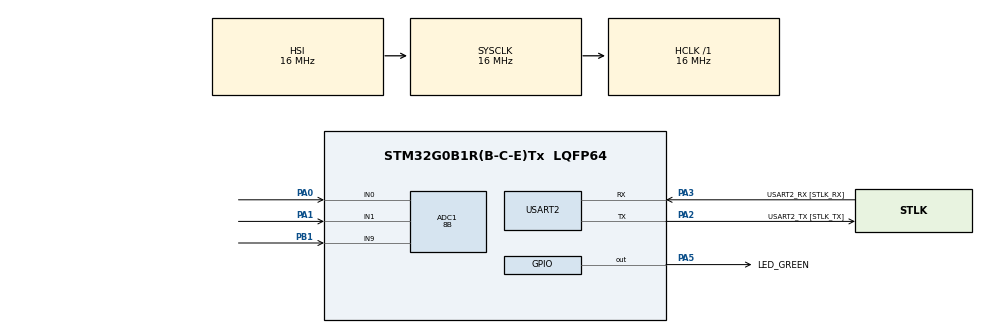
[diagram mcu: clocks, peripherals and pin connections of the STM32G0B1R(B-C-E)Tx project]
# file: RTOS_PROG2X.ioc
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ADC1.Channel-0\#ChannelRegularConversion=ADC_CHANNEL_0
ADC1.Channel-1\#ChannelRegularConversion=ADC_CHANNEL_1
ADC1.Channel-2\#ChannelRegularConversion=ADC_CHANNEL_9
ADC1.Channel-3\#ChannelRegularConversion=ADC_CHANNEL_0
ADC1.Channel-4\#ChannelRegularConversion=ADC_CHANNEL_0
ADC1.ContinuousConvMode=DISABLE
ADC1.DMAContinuousRequests=ENABLE
ADC1.NbrOfConversion=5
ADC1.NbrOfConversionFlag=1
ADC1.Rank-0\#ChannelRegularConversion=1
ADC1.Rank-1\#ChannelRegularConversion=2
ADC1.Rank-2\#ChannelRegularConversion=3
ADC1.Rank-3\#ChannelRegularConversion=4
ADC1.Rank-4\#ChannelRegularConversion=5
ADC1.Resolution=ADC_RESOLUTION_8B
ADC1.SamplingTime-0\#ChannelRegularConversion=ADC_SAMPLINGTIME_COMMON_1
ADC1.SamplingTime-1\#ChannelRegularConversion=ADC_SAMPLINGTIME_COMMON_1
ADC1.SamplingTime-2\#ChannelRegularConversion=ADC_SAMPLINGTIME_COMMON_1
ADC1.SamplingTime-3\#ChannelRegularConversion=ADC_SAMPLINGTIME_COMMON_1
ADC1.SamplingTime-4\#ChannelRegularConversion=ADC_SAMPLINGTIME_COMMON_1
ADC1.SelectedChannel=ADC_CHANNEL_0|ADC_CHANNEL_1|ADC_CHANNEL_9
ADC1.master=1
Dma.ADC1.0.Direction=DMA_PERIPH_TO_MEMORY
Dma.ADC1.0.EventEnable=DISABLE
Dma.ADC1.0.Instance=DMA1_Channel1
Dma.ADC1.0.MemDataAlignment=DMA_MDATAALIGN_HALFWORD
Dma.ADC1.0.MemInc=DMA_MINC_ENABLE
Dma.ADC1.0.Mode=DMA_CIRCULAR
Dma.ADC1.0.PeriphDataAlignment=DMA_PDATAALIGN_HALFWORD
Dma.ADC1.0.PeriphInc=DMA_PINC_DISABLE
Dma.ADC1.0.Polarity=HAL_DMAMUX_REQ_GEN_RISING
Dma.ADC1.0.Priority=DMA_PRIORITY_LOW
Dma.ADC1.0.RequestNumber=1
Dma.ADC1.0.SignalID=NONE
Dma.ADC1.0.SyncEnable=DISABLE
Dma.ADC1.0.SyncPolarity=HAL_DMAMUX_SYNC_NO_EVENT
Dma.ADC1.0.SyncRequestNumber=1
Dma.ADC1.0.SyncSignalID=NONE
Dma.Request0=ADC1
FREERTOS.Tasks01=defaultTask,24,128,StartDefaultTask,Default,NULL,Dynamic,NULL,NULL
FREERTOS.configUSE_NEWLIB_REENTRANT=1
Mcu.Family=STM32G0
Mcu.Name=STM32G0B1R(B-C-E)Tx
Mcu.Package=LQFP64
NVIC.DMA1_Channel1_IRQn=true\:3\:0\:false\:false\:true\:true\:false\:true\:true
NVIC.TIM1_BRK_UP_TRG_COM_IRQn=true\:3\:0\:false\:false\:true\:false\:false\:true\:true
NVIC.TimeBase=TIM1_BRK_UP_TRG_COM_IRQn
NVIC.TimeBaseIP=TIM1
PA0.Mode=IN0
PA0.Signal=ADC1_IN0
PA1.Mode=IN1
PA1.Signal=ADC1_IN1
PA13.GPIO_Label=TMS
PA13.Mode=Serial_Wire
PA13.Signal=SYS_SWDIO
PA14-BOOT0.GPIO_Label=TCK
PA14-BOOT0.Mode=Serial_Wire
PA14-BOOT0.Signal=SYS_SWCLK
PA2.GPIO_Label=USART2_TX [STLK_TX]
PA2.Mode=Asynchronous
PA2.Signal=USART2_TX
PA3.GPIO_Label=USART2_RX [STLK_RX]
PA3.Mode=Asynchronous
PA3.Signal=USART2_RX
PA5.GPIO_Label=LED_GREEN
PA5.GPIO_Speed=GPIO_SPEED_FREQ_HIGH
PA5.Signal=GPIO_Output
PB1.Mode=IN9
PB1.Signal=ADC1_IN9
PB11.Signal=ADC1_IN15
PB12.Signal=ADC1_IN16
PC13.Mode=SYS_WakeUp1
PC13.Signal=SYS_WKUP2
PC14-OSC32_IN\ (PC14).Mode=LSE-External-Oscillator
PC14-OSC32_IN\ (PC14).Signal=RCC_OSC32_IN
PC15-OSC32_OUT\ (PC15).Mode=LSE-External-Oscillator
PC15-OSC32_OUT\ (PC15).Signal=RCC_OSC32_OUT
PF0-OSC_IN\ (PF0).GPIO_Label=MCO
PF0-OSC_IN\ (PF0).Mode=HSE-External-Clock-Source
PF0-OSC_IN\ (PF0).Signal=RCC_OSC_IN
ProjectManager.HeapSize=0x200
ProjectManager.StackSize=0x400
ProjectManager.TargetToolchain=STM32CubeIDE
RCC.AHBFreq_Value=16000000
RCC.CortexFreq_Value=16000000
RCC.EXTERNAL_CLOCK_VALUE=12288000
RCC.HCLKFreq_Value=16000000
RCC.HSE_VALUE=8000000
RCC.HSI48_VALUE=48000000
RCC.HSI_VALUE=16000000
RCC.SYSCLKFreq_VALUE=16000000
RCC.USBFreq_Value=48000000
RCC.VCOOutputFreq_Value=128000000
USART2.VirtualMode-Asynchronous=VM_ASYNC
VP_FREERTOS_VS_CMSIS_V2.Mode=CMSIS_V2
VP_SYS_VS_DBSignals.Mode=DisableDeadBatterySignals
VP_SYS_VS_tim1.Mode=TIM1
board=NUCLEO-G0B1RE

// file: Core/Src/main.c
/* USER CODE BEGIN Header */
/**
  ******************************************************************************
  * @file           : main.c
  * @brief          : Main program body
  ******************************************************************************
  * @attention
  *
  * Copyright (c) 2024 STMicroelectronics.
  * All rights reserved.
  *
  * This software is licensed under terms that can be found in the LICENSE file
  * in the root directory of this software component.
  * If no LICENSE file comes with this software, it is provided AS-IS.
  *
  ******************************************************************************
  */
/* USER CODE END Header */
#include "main.h"
#include "cmsis_os.h"

/* USER CODE BEGIN Includes */
#include <stdio.h>
#include <string.h>

/* USER CODE END Includes */

ADC_HandleTypeDef hadc1;
DMA_HandleTypeDef hdma_adc1;

UART_HandleTypeDef huart2;

/* Definitions for defaultTask */
osThreadId_t defaultTaskHandle;
const osThreadAttr_t defaultTask_attributes = {
  .name = "defaultTask",
  .priority = (osPriority_t) osPriorityNormal,
  .stack_size = 128 * 4
};
/* USER CODE BEGIN PV */
osThreadId_t task1Handle;
const osThreadAttr_t Task1_attributes = {
  .name = "Task1",
  .priority = (osPriority_t) osPriorityNormal,
  .stack_size = 128 * 4
};

/* USER CODE END PV */

void SystemClock_Config(void);
static void MX_GPIO_Init(void);
static void MX_DMA_Init(void);
static void MX_USART2_UART_Init(void);
static void MX_ADC1_Init(void);
void StartDefaultTask(void *argument);

/* USER CODE BEGIN PFP */
void StartTask1(void *argument);

volatile uint16_t adcResultsDMA[5];
const int adcChannelCount = sizeof (adcResultsDMA) / sizeof (adcResultsDMA[0]);
volatile int adcConversionComplete = 0; // set by callback
#define TXBUFLEN	20
char txBuf[TXBUFLEN];

// uncomment this to send with protocol
//char uart_packet[20];

// this transmission is only for testing
char uart_packet_2[20] ={'a','b','c','d','e','f','g','h','i','j','k','l','m','n','o','p','q','r','s','t'};
char uart_packet[20]; // for data protocol

/* USER CODE END PFP */

/* USER CODE BEGIN 0 */

typedef enum {
	HEADER_1 = 0,
	HEADER_2,
	PACKET_LENGTH,
	GAIN1_HB,

	GAIN1_LB,
	PHASE1_HB,
	PHASE1_LB,
	GAIN2_HB,

	GAIN2_LB,
	PHASE2_HB,
	PHASE2_LB,
	GAIN3_HB,

	GAIN3_LB,
	PHASE3_HB,
	PHASE3_LB,
	ECG1_HB,

	ECG1_LB,
	LEAD_DETECT_HB,
	LEAD_DETECT_LB,
	EXTRA_BYTE
} ByteName;

typedef struct {
	uint8_t header1;
	uint8_t header2;
	uint8_t packet_length;
	uint16_t gain1;
	uint16_t phase1;
	uint16_t gain2;
	uint16_t phase2;
	uint16_t gain3;
	uint16_t phase3;
	uint16_t ECG1;
	uint16_t lead_detection;
	uint8_t extra_byte;
} DataPacketStr;

DataPacketStr dataPacket;

/* USER CODE END 0 */

int main(void)
{

  /* MCU Configuration--------------------------------------------------------*/

  /* Reset of all peripherals, Initializes the Flash interface and the Systick. */
  HAL_Init();

  /* Configure the system clock */
  SystemClock_Config();

  /* Initialize all configured peripherals */
  MX_GPIO_Init();
  MX_DMA_Init();
  MX_USART2_UART_Init();
  MX_ADC1_Init();

  /* Init scheduler */
  osKernelInitialize();

  /* Create the thread(s) */
  /* creation of defaultTask */
  defaultTaskHandle = osThreadNew(StartDefaultTask, NULL, &defaultTask_attributes);

  /* USER CODE BEGIN RTOS_THREADS */
  task1Handle = osThreadNew(StartTask1, NULL, &Task1_attributes);
  /* add threads, ... */
  /* USER CODE END RTOS_THREADS */

  /* Start scheduler */
  osKernelStart();

  /* We should never get here as control is now taken by the scheduler */
  /* Infinite loop */
  while (1)
  {

  }
}

void SystemClock_Config(void)
{
  RCC_OscInitTypeDef RCC_OscInitStruct = {0};
  RCC_ClkInitTypeDef RCC_ClkInitStruct = {0};

  /** Configure the main internal regulator output voltage
  */
  HAL_PWREx_ControlVoltageScaling(PWR_REGULATOR_VOLTAGE_SCALE1);

  /** Initializes the RCC Oscillators according to the specified parameters
  * in the RCC_OscInitTypeDef structure.
  */
  RCC_OscInitStruct.OscillatorType = RCC_OSCILLATORTYPE_HSI;
  RCC_OscInitStruct.HSIState = RCC_HSI_ON;
  RCC_OscInitStruct.HSIDiv = RCC_HSI_DIV1;
  RCC_OscInitStruct.HSICalibrationValue = RCC_HSICALIBRATION_DEFAULT;
  RCC_OscInitStruct.PLL.PLLState = RCC_PLL_NONE;
  if (HAL_RCC_OscConfig(&RCC_OscInitStruct) != HAL_OK)
  {
    Error_Handler();
  }

  /** Initializes the CPU, AHB and APB buses clocks
  */
  RCC_ClkInitStruct.ClockType = RCC_CLOCKTYPE_HCLK|RCC_CLOCKTYPE_SYSCLK
                              |RCC_CLOCKTYPE_PCLK1;
  RCC_ClkInitStruct.SYSCLKSource = RCC_SYSCLKSOURCE_HSI;
  RCC_ClkInitStruct.AHBCLKDivider = RCC_SYSCLK_DIV1;
  RCC_ClkInitStruct.APB1CLKDivider = RCC_HCLK_DIV1;

  if (HAL_RCC_ClockConfig(&RCC_ClkInitStruct, FLASH_LATENCY_0) != HAL_OK)
  {
    Error_Handler();
  }
}

static void MX_ADC1_Init(void)
{

  ADC_ChannelConfTypeDef sConfig = {0};

  /** Configure the global features of the ADC (Clock, Resolution, Data Alignment and number of conversion)
  */
  hadc1.Instance = ADC1;
  hadc1.Init.ClockPrescaler = ADC_CLOCK_SYNC_PCLK_DIV2;
  hadc1.Init.Resolution = ADC_RESOLUTION_8B;
  hadc1.Init.DataAlign = ADC_DATAALIGN_RIGHT;
  hadc1.Init.ScanConvMode = ADC_SCAN_ENABLE;
  hadc1.Init.EOCSelection = ADC_EOC_SINGLE_CONV;
  hadc1.Init.LowPowerAutoWait = DISABLE;
  hadc1.Init.LowPowerAutoPowerOff = DISABLE;
  hadc1.Init.ContinuousConvMode = DISABLE;
  hadc1.Init.NbrOfConversion = 5;
  hadc1.Init.DiscontinuousConvMode = DISABLE;
  hadc1.Init.ExternalTrigConv = ADC_SOFTWARE_START;
  hadc1.Init.ExternalTrigConvEdge = ADC_EXTERNALTRIGCONVEDGE_NONE;
  hadc1.Init.DMAContinuousRequests = ENABLE;
  hadc1.Init.Overrun = ADC_OVR_DATA_PRESERVED;
  hadc1.Init.SamplingTimeCommon1 = ADC_SAMPLETIME_1CYCLE_5;
  hadc1.Init.SamplingTimeCommon2 = ADC_SAMPLETIME_1CYCLE_5;
  hadc1.Init.OversamplingMode = DISABLE;
  hadc1.Init.TriggerFrequencyMode = ADC_TRIGGER_FREQ_HIGH;
  if (HAL_ADC_Init(&hadc1) != HAL_OK)
  {
    Error_Handler();
  }

  /** Configure Regular Channel
  */
  sConfig.Channel = ADC_CHANNEL_0;
  sConfig.Rank = ADC_REGULAR_RANK_1;
  sConfig.SamplingTime = ADC_SAMPLINGTIME_COMMON_1;
  if (HAL_ADC_ConfigChannel(&hadc1, &sConfig) != HAL_OK)
  {
    Error_Handler();
  }

  /** Configure Regular Channel
  */
  sConfig.Channel = ADC_CHANNEL_1;
  sConfig.Rank = ADC_REGULAR_RANK_2;
  if (HAL_ADC_ConfigChannel(&hadc1, &sConfig) != HAL_OK)
  {
    Error_Handler();
  }

  /** Configure Regular Channel
  */
  sConfig.Channel = ADC_CHANNEL_9;
  sConfig.Rank = ADC_REGULAR_RANK_3;
  if (HAL_ADC_ConfigChannel(&hadc1, &sConfig) != HAL_OK)
  {
    Error_Handler();
  }

  /** Configure Regular Channel
  */
  sConfig.Channel = ADC_CHANNEL_0;
  sConfig.Rank = ADC_REGULAR_RANK_4;
  if (HAL_ADC_ConfigChannel(&hadc1, &sConfig) != HAL_OK)
  {
    Error_Handler();
  }

  /** Configure Regular Channel
  */
  sConfig.Rank = ADC_REGULAR_RANK_5;
  if (HAL_ADC_ConfigChannel(&hadc1, &sConfig) != HAL_OK)
  {
    Error_Handler();
  }
  /* USER CODE BEGIN ADC1_Init 2 */
  // configuration for channel two

  /** Configure Regular Channel
  */

  // adding three more channels

  /* USER CODE END ADC1_Init 2 */

}

static void MX_USART2_UART_Init(void)
{

  huart2.Instance = USART2;
  huart2.Init.BaudRate = 115200;
  huart2.Init.WordLength = UART_WORDLENGTH_8B;
  huart2.Init.StopBits = UART_STOPBITS_1;
  huart2.Init.Parity = UART_PARITY_NONE;
  huart2.Init.Mode = UART_MODE_TX_RX;
  huart2.Init.HwFlowCtl = UART_HWCONTROL_NONE;
  huart2.Init.OverSampling = UART_OVERSAMPLING_16;
  huart2.Init.OneBitSampling = UART_ONE_BIT_SAMPLE_DISABLE;
  huart2.Init.ClockPrescaler = UART_PRESCALER_DIV1;
  huart2.AdvancedInit.AdvFeatureInit = UART_ADVFEATURE_NO_INIT;
  if (HAL_UART_Init(&huart2) != HAL_OK)
  {
    Error_Handler();
  }
  if (HAL_UARTEx_SetTxFifoThreshold(&huart2, UART_TXFIFO_THRESHOLD_1_8) != HAL_OK)
  {
    Error_Handler();
  }
  if (HAL_UARTEx_SetRxFifoThreshold(&huart2, UART_RXFIFO_THRESHOLD_1_8) != HAL_OK)
  {
    Error_Handler();
  }
  if (HAL_UARTEx_DisableFifoMode(&huart2) != HAL_OK)
  {
    Error_Handler();
  }

}

static void MX_DMA_Init(void)
{

  /* DMA controller clock enable */
  __HAL_RCC_DMA1_CLK_ENABLE();

  /* DMA interrupt init */
  /* DMA1_Channel1_IRQn interrupt configuration */
  HAL_NVIC_SetPriority(DMA1_Channel1_IRQn, 3, 0);
  HAL_NVIC_EnableIRQ(DMA1_Channel1_IRQn);

}

static void MX_GPIO_Init(void)
{
  GPIO_InitTypeDef GPIO_InitStruct = {0};

  /* GPIO Ports Clock Enable */
  __HAL_RCC_GPIOC_CLK_ENABLE();
  __HAL_RCC_GPIOF_CLK_ENABLE();
  __HAL_RCC_GPIOA_CLK_ENABLE();
  __HAL_RCC_GPIOB_CLK_ENABLE();

  /*Configure GPIO pin Output Level */
  HAL_GPIO_WritePin(LED_GREEN_GPIO_Port, LED_GREEN_Pin, GPIO_PIN_RESET);

  /*Configure GPIO pin : LED_GREEN_Pin */
  GPIO_InitStruct.Pin = LED_GREEN_Pin;
  GPIO_InitStruct.Mode = GPIO_MODE_OUTPUT_PP;
  GPIO_InitStruct.Pull = GPIO_NOPULL;
  GPIO_InitStruct.Speed = GPIO_SPEED_FREQ_HIGH;
  HAL_GPIO_Init(LED_GREEN_GPIO_Port, &GPIO_InitStruct);

}

/* USER CODE BEGIN 4 */

void read_inputs(){
  dataPacket.header1 = 255;
  dataPacket.header2 = 255;
  dataPacket.packet_length = 20; // packet length
  dataPacket.gain1 = 97;
  dataPacket.phase1 = 98;
  dataPacket.gain2 = 99;
  dataPacket.phase2 = 100;
  dataPacket.gain3 = 101;
  dataPacket.phase3 = 102;
  dataPacket.ECG1 = 103;
  dataPacket.lead_detection = 104;
  dataPacket.extra_byte = 105;

}

void set_packets(){
	read_inputs();

   // final version
  uart_packet[HEADER_1] = dataPacket.header1;
  uart_packet[HEADER_2] = dataPacket.header2;
  uart_packet[PACKET_LENGTH] = dataPacket.packet_length;
  uart_packet[GAIN1_HB] = (dataPacket.gain1 >> 8 ) & 0xFF; // get higher bytes

  uart_packet[GAIN1_LB] = dataPacket.gain1 & 0xFF; // get lower bytes
  uart_packet[PHASE1_HB] = (dataPacket.phase1 >> 8 ) & 0xFF;
  uart_packet[PHASE1_LB] = dataPacket.phase1 & 0xFF;
  uart_packet[GAIN2_HB] = (dataPacket.gain2 >> 8 ) & 0xFF;

  uart_packet[GAIN2_LB] =  dataPacket.gain2 & 0xFF;
  uart_packet[PHASE2_HB] = (dataPacket.phase2 >> 8 ) & 0xFF;
  uart_packet[PHASE2_LB] = dataPacket.phase2 & 0xFF;
  uart_packet[GAIN3_HB] = (dataPacket.gain3 >> 8 ) & 0xFF;

  uart_packet[GAIN3_LB] = dataPacket.gain3 & 0xFF;
  uart_packet[PHASE3_HB] = (dataPacket.phase3 >> 8 ) & 0xFF;
  uart_packet[PHASE3_LB] = dataPacket.phase3 & 0xFF;
  uart_packet[ECG1_HB] = (dataPacket.ECG1 >> 8 ) & 0xFF;

  uart_packet[ECG1_LB] = dataPacket.ECG1 & 0xFF;
  uart_packet[LEAD_DETECT_HB] = (dataPacket.lead_detection >> 8) & 0xFF;
  uart_packet[LEAD_DETECT_LB] = dataPacket.lead_detection & 0xFF;
  uart_packet[EXTRA_BYTE] = dataPacket.extra_byte & 0xFF;

}

void HAL_ADC_ConvCpltCallback(ADC_HandleTypeDef *hadc)
{

  adcConversionComplete = 1; // conversion complete
}

void StartTask1(void *argument){
	char msg[20] = "hello world";

//	HAL_ADC_Start_DMA(&hadc1, (uint32_t *)adcResultsDMA, adcChannelCount);

	/* Infinite loop */
	for(;;)
	{

		/**
		 *
		 * Previous Protocol 6 bytes

		HAL_ADC_Start_DMA(&hadc1, (uint32_t *)adcResultsDMA, adcChannelCount);
		while (adcConversionComplete == 0)
			;
		adcConversionComplete = 0;
		packet[2] = (adcResultsDMA[0] >> 8) & 0xFF;
		packet[3] = (adcResultsDMA[0] & 0xFF);

		packet[4] = (adcResultsDMA[1] >> 8) & 0xFF;
		packet[5] = (adcResultsDMA[1] & 0xFF);

		snprintf(txBuf, (size_t)TXBUFLEN, "CH1= %d\tCH2 = %d\r\n", adcResultsDMA[0], adcResultsDMA[1]);
		HAL_UART_Transmit(&huart2, (uint8_t *)packet, (uint16_t)4, HAL_MAX_DELAY);

		*/

		/*
		 *
		 * new Protocol 20 bytes

		*/

//		HAL_ADC_Start_DMA(&hadc1, (uint32_t *)adcResultsDMA, adcChannelCount);
//		while (adcConversionComplete == 0)
//		;
//		adcConversionComplete = 0;

		/*
		uart_packet[HEADER_1] =  0xFF;
		uart_packet[HEADER_2] =  0xFF;
		uart_packet[PACKET_LENGTH] = {97,98,99,100,101};=  20; // 20 bytes
		uart_packet[GAIN1_HB] = (adcResultsDMA[0] >> 8) & 0xFF;

		uart_packet[GAIN1_LB] = (adcResultsDMA[0] & 0xFF);
		uart_packet[PHASE1_HB] = (adcResultsDMA[1] >> 8) & 0xFF;
		uart_packet[PHASE1_LB] = (adcResultsDMA[1] & 0xFF);
		uart_packet[GAIN2_HB] = (adcResultsDMA[2] >> 8) & 0xFF;

		uart_packet[GAIN2_LB] = (adcResultsDMA[2] & 0xFF);
		uart_packet[PHASE2_HB] = (adcResultsDMA[3] >> 8) & 0xFF;
		uart_packet[PHASE2_LB] = (adcResultsDMA[3] & 0xFF);
		uart_packet[GAIN3_HB] = (adcResultsDMA[4] >> 8) & 0xFF;

		uart_packet[GAIN3_LB] = (adcResultsDMA[4] & 0xFF);
		uart_packet[PHASE3_HB] = 1;
		uart_packet[PHASE3_LB] = 1;
		uart_packet[ECG1_HB] = 1;

		uart_packet[ECG1_LB] = 1;
		uart_packet[LEAD_DETECT_HB] = 1;
		uart_packet[LEAD_DETECT_LB] = 1;
		uart_packet[EXTRA_BYTE] = 1;

		*/

		/**This function will give default values to the protocol*/
		set_packets();
		/** Send values in hex **/
//		HAL_UART_Transmit(&huart2, (uint8_t *)uart_packet, (uint16_t)20, HAL_MAX_DELAY);

		/** Send values in string **/
		for(int i=0; i<20; i++){
			char buff[4];
			sprintf(buff, "%u\r\n", uart_packet[i]);
			HAL_UART_Transmit(&huart2, (uint8_t *)buff, strlen(buff), HAL_MAX_DELAY);
		}

//		HAL_UART_Transmit(&huart2, (uint8_t *)msg, strlen(msg), HAL_MAX_DELAY);
		osDelay(50);
	}

}

/* USER CODE END 4 */

void StartDefaultTask(void *argument)
{
  /* USER CODE BEGIN 5 */
	//char msg[] = "Hello world";
	// HAL_ADC_Start_DMA(&hadc1, (uint32_t *)adcResultsDMA, adcChannelCount);

  /* Infinite loop */
  for(;;)
  {

//	  while(adcConversionComplete == 0); // wait for conversion to complete
	  //adcConversionComplete = 0;
	  //snprintf(txBuf, TXBUFLEN, "CH1 = %d\tCH2 = %d\r\n", adcResultsDMA[0], adcResultsDMA[1]);
	//HAL_UART_Transmit(&huart2, (uint8_t *)msg, strlen(msg), HAL_MAX_DELAY);
    //osDelay(1);
  }
  /* USER CODE END 5 */
}

void HAL_TIM_PeriodElapsedCallback(TIM_HandleTypeDef *htim)
{
  if (htim->Instance == TIM1) {
    HAL_IncTick();
  }
}

void Error_Handler(void)
{
  __disable_irq();
  while (1)
  {
  }
}
